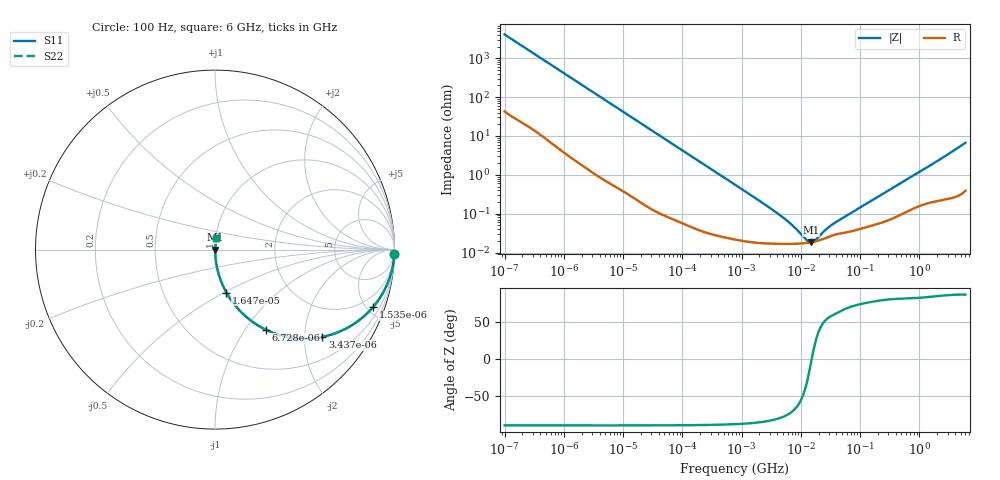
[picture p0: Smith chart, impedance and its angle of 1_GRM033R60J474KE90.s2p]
!Murata Part Number: GRM033R60J474KE90
!These Parameters are Measured in Series Mode Connection
!Data Generated on Mar 14, 2019
!  o--ll--o
!Port1  Port2
!  o------o
!Operation Temp=25[degC], DC Bias Voltage=0[V]
!Freq. Start=100[Hz] Stop=6[GHz] 401[Steps]
# Hz S RI R 50
!Freq.(Hz) S11(Real) S11(Imag) S21(Real) S21(Imag) S12(Real) S12(Imag) S22(Real) S22(Imag)
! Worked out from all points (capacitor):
!   401 points, 100 Hz to 6 GHz, reference 50 ohm
!   read as one part in series: C = 386 nF near 109 Hz
!   lowest |Z| = 18.3 mohm at 14.88 MHz (marker M1)
!   series resonance near 15.28 MHz, so ESL is about 280 pH
!   S11 on the Smith chart (normalised r, x): 100 Hz: 2, -82; 1.535 kHz: 1.05, -5.45; 3.437 kHz: 1.02, -2.44; 6.728 kHz: 1.01, -1.25; 16.47 kHz: 1.00, -0.51; 6 GHz: 1.01, +0.13
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100  0.9992 -0.0243  0.000843 0.0243  0.000843 0.0243  0.9992 -0.0243
479  0.9858 -0.1135  0.0142 0.1135  0.0142 0.1135  0.9858 -0.1135
938  0.9501 -0.2132  0.0499 0.2132  0.0499 0.2132  0.9501 -0.2132
1535  0.8792 -0.3216  0.1208 0.3216  0.1208 0.3216  0.8792 -0.3216
2008  0.8111 -0.3872  0.1889 0.3872  0.1889 0.3872  0.8111 -0.3872
3437  0.5981 -0.4862  0.4019 0.4862  0.4019 0.4862  0.5981 -0.4862
4702  0.4449 -0.4928  0.5551 0.4928  0.5551 0.4928  0.4449 -0.4928
6728  0.2834 -0.4464  0.7166 0.4464  0.7166 0.4464  0.2834 -0.4464
10527  0.1409 -0.3435  0.8591 0.3435  0.8591 0.3435  0.1409 -0.3435
16473  0.0639 -0.2401  0.9361 0.2401  0.9361 0.2401  0.0639 -0.2401
40335  0.012 -0.1041  0.988 0.1041  0.988 0.1041  0.012 -0.1041
129199  0.00157 -0.0331  0.9984 0.0331  0.9984 0.0331  0.00157 -0.0331
774597  0.000247 -0.00558  0.9998 0.00558  0.9998 0.00558  0.000247 -0.00558
4440638  0.000168 -0.000901  0.9998 0.000901  0.9998 0.000901  0.000168 -0.000901
7266822  0.000167 -0.000466  0.9998 0.000466  0.9998 0.000466  0.000167 -0.000466
1.243624e7  0.000175 -0.000118  0.9998 0.000118  0.9998 0.000118  0.000175 -0.000118
1.487547e7  0.000182 -1.52e-05  0.9998 1.52e-05  0.9998 1.52e-05  0.000182 -1.52e-05
1.555665e7  0.000185 1.03e-05  0.9998 -1.03e-05  0.9998 -1.03e-05  0.000185 1.03e-05
1.779312e7  0.000193 8.61e-05  0.9998 -8.61e-05  0.9998 -8.61e-05  0.000193 8.61e-05
3.482834e7  0.000277 0.000463  0.9997 -0.000463  0.9997 -0.000463  0.000277 0.000463
3.124326e8  0.000708 0.00403  0.9993 -0.00403  0.9993 -0.00403  0.000708 0.00403
6e9  0.00823 0.0657  0.9918 -0.0657  0.9918 -0.0657  0.00823 0.0657
